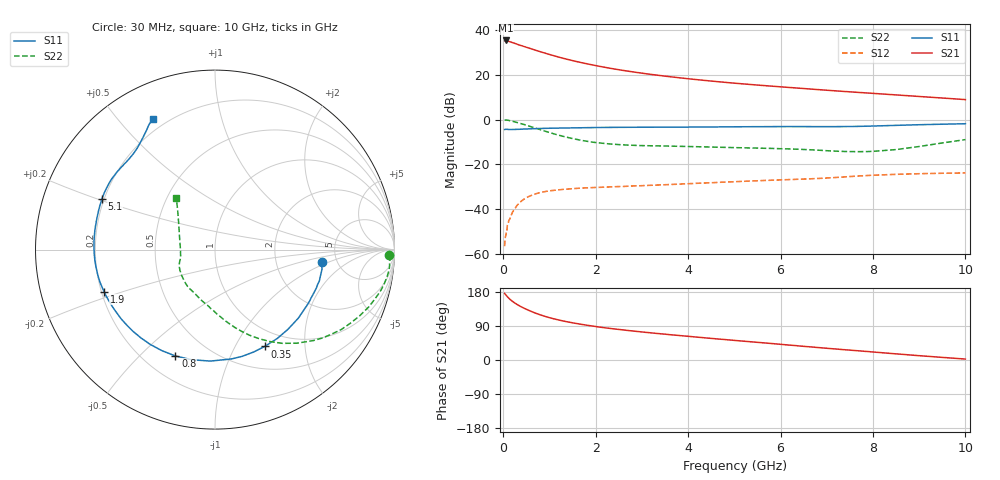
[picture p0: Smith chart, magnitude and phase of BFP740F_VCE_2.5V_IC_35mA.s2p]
! Infineon Technologies  Discrete & RF Semiconductors
! BFP740F
! VCE =  2.5 V,  IC =  35 mA
! Common Emitter S-Parameters:  Oct 2012
# GHz  S  MA  R  50
!  f  S11  S21  S12  S22
! GHz  MAG  ANG  MAG  ANG  MAG  ANG  MAG  ANG
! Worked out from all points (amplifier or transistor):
!   99 points, 30 MHz to 10 GHz, reference 50 ohm
!   highest |S21| = 35.3 dB at 50 MHz (marker M1)
!   |S21| within 3 dB of that: start of sweep to 494.8 MHz
!   unconditionally stable (mu >= 1): 4.999 GHz to end of sweep
!   at 350 MHz: K = 0.19, MSG = 35.2 dB, |S12| = -37.2 dB
!   at 3.5 GHz: K = 0.83, MSG = 24.2 dB, |S12| = -29.1 dB
!   at 10 GHz: K = 1.16, MAG = 13.9 dB, |S12| = -23.8 dB
!   S11 on the Smith chart (normalised r, x): 30 MHz: 3.82, -0.80; 350 MHz: 0.78, -1.33; 800 MHz: 0.33, -0.64; 1.9 GHz: 0.21, -0.17; 5.1 GHz: 0.19, +0.21; 10 GHz: 0.15, +0.62
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0.03  0.5996 -6.4  57.33 175.6  0.0015 90.0  0.972 -1.9
0.05  0.6061 -10.5  58.06 172.8  0.0025 77.2  0.9758 -4.6
0.07  0.6058 -14.8  58.01 169.8  0.0034 87.1  0.9756 -7.0
0.11  0.6016 -22.9  55.95 164.4  0.0049 79.6  0.962 -11.5
0.15  0.5996 -30.6  54.26 159.7  0.0064 76.3  0.9415 -15.6
0.2  0.6012 -39.4  52 154.7  0.0086 75.1  0.9153 -20.3
0.25  0.6021 -47.6  50.03 150.4  0.0102 72.2  0.8865 -24.6
0.35  0.6064 -62.8  45.81 143.0  0.0138 65.0  0.8321 -32.4
0.45  0.6137 -75.7  42.55 136.7  0.0168 59.6  0.7764 -39.3
0.6  0.6218 -92.5  38 128.5  0.0202 52.7  0.6931 -48.8
0.8  0.6325 -110.4  32.62 119.2  0.0236 46.0  0.5956 -59.3
1  0.6397 -124.3  28.28 111.7  0.0257 40.8  0.5138 -68.1
1.2  0.645 -135.1  24.73 105.6  0.0271 37.1  0.4484 -75.6
1.4  0.6499 -143.7  21.85 100.4  0.0282 34.7  0.3979 -82.2
1.7  0.6559 -153.9  18.52 93.9  0.0296 32.4  0.342 -91.1
1.9  0.661 -159.3  16.77 90.2  0.0303 31.1  0.3166 -96.7
2.5  0.6701 -171.7  12.92 80.7  0.032 30.1  0.2764 -111.1
3.4  0.6759 175.1  9.569 69.2  0.0349 30.4  0.2581 -124.5
5.1  0.6902 156.0  6.352 50.7  0.0415 31.5  0.2355 -141.6
6.7  0.6953 139.8  4.745 34.1  0.048 31.6  0.2103 -160.1
8.5  0.7416 122.8  3.543 16.2  0.06 27.2  0.214 157.9
10  0.8065 115.3  2.787 2.5  0.0645 21.1  0.3571 127.0
